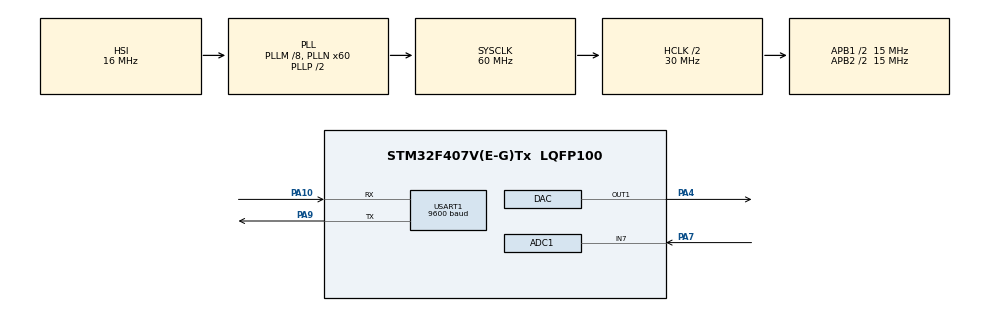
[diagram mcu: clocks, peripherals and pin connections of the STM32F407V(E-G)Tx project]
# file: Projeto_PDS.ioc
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ADC1.Channel-4\#ChannelRegularConversion=ADC_CHANNEL_7
ADC1.DMAContinuousRequests=ENABLE
ADC1.ExternalTrigConv=ADC_EXTERNALTRIGCONV_T2_TRGO
ADC1.NbrOfConversionFlag=1
ADC1.Rank-4\#ChannelRegularConversion=1
ADC1.SamplingTime-4\#ChannelRegularConversion=ADC_SAMPLETIME_3CYCLES
ADC1.master=1
DAC.DAC_Trigger=DAC_TRIGGER_T2_TRGO
DAC.TriangleAmplitude=DAC_TRIANGLEAMPLITUDE_15
DAC.WaveGeneration=TriangleWaveGeneration
Dma.ADC1.0.Direction=DMA_PERIPH_TO_MEMORY
Dma.ADC1.0.FIFOMode=DMA_FIFOMODE_DISABLE
Dma.ADC1.0.Instance=DMA2_Stream0
Dma.ADC1.0.MemDataAlignment=DMA_MDATAALIGN_WORD
Dma.ADC1.0.MemInc=DMA_MINC_ENABLE
Dma.ADC1.0.Mode=DMA_CIRCULAR
Dma.ADC1.0.PeriphDataAlignment=DMA_PDATAALIGN_WORD
Dma.ADC1.0.PeriphInc=DMA_PINC_DISABLE
Dma.ADC1.0.Priority=DMA_PRIORITY_LOW
Dma.DAC1.1.Direction=DMA_MEMORY_TO_PERIPH
Dma.DAC1.1.FIFOMode=DMA_FIFOMODE_DISABLE
Dma.DAC1.1.Instance=DMA1_Stream5
Dma.DAC1.1.MemDataAlignment=DMA_MDATAALIGN_WORD
Dma.DAC1.1.MemInc=DMA_MINC_ENABLE
Dma.DAC1.1.Mode=DMA_CIRCULAR
Dma.DAC1.1.PeriphDataAlignment=DMA_PDATAALIGN_WORD
Dma.DAC1.1.PeriphInc=DMA_PINC_DISABLE
Dma.DAC1.1.Priority=DMA_PRIORITY_LOW
Dma.Request0=ADC1
Dma.Request1=DAC1
Mcu.Family=STM32F4
Mcu.Name=STM32F407V(E-G)Tx
Mcu.Package=LQFP100
NVIC.DMA1_Stream5_IRQn=true\:0\:0\:false\:false\:true\:false\:true\:true
NVIC.DMA2_Stream0_IRQn=true\:0\:0\:false\:false\:true\:false\:true\:true
NVIC.PriorityGroup=NVIC_PRIORITYGROUP_4
PA10.Mode=Asynchronous
PA10.Signal=USART1_RX
PA13.Mode=Serial_Wire
PA13.Signal=SYS_JTMS-SWDIO
PA14.Mode=Serial_Wire
PA14.Signal=SYS_JTCK-SWCLK
PA4.Signal=COMP_DAC1_group
PA7.Signal=ADCx_IN7
PA9.Mode=Asynchronous
PA9.Signal=USART1_TX
PH0-OSC_IN.Mode=HSE-External-Oscillator
PH0-OSC_IN.Signal=RCC_OSC_IN
PH1-OSC_OUT.Mode=HSE-External-Oscillator
PH1-OSC_OUT.Signal=RCC_OSC_OUT
ProjectManager.HeapSize=0x200
ProjectManager.StackSize=0x400
ProjectManager.TargetToolchain=STM32CubeIDE
RCC.48MHZClocksFreq_Value=30000000
RCC.AHBCLKDivider=RCC_SYSCLK_DIV2
RCC.AHBFreq_Value=30000000
RCC.APB1CLKDivider=RCC_HCLK_DIV2
RCC.APB1Freq_Value=15000000
RCC.APB1TimFreq_Value=30000000
RCC.APB2CLKDivider=RCC_HCLK_DIV2
RCC.APB2Freq_Value=15000000
RCC.APB2TimFreq_Value=30000000
RCC.CortexFreq_Value=30000000
RCC.HCLKFreq_Value=30000000
RCC.HSE_VALUE=25000000
RCC.HSI_VALUE=16000000
RCC.LSE_VALUE=32768
RCC.PLLM=8
RCC.PLLN=60
RCC.SYSCLKFreq_VALUE=60000000
RCC.SYSCLKSource=RCC_SYSCLKSOURCE_PLLCLK
RCC.VCOOutputFreq_Value=120000000
SH.ADCx_IN7.0=ADC1_IN7,IN7
SH.COMP_DAC1_group.0=DAC_OUT1,DAC_OUT1
TIM2.Period=299
TIM2.Prescaler=99
TIM2.TIM_MasterOutputTrigger=TIM_TRGO_UPDATE
USART1.BaudRate=9600
USART1.VirtualMode=VM_ASYNC
VP_TIM2_VS_ClockSourceINT.Mode=Internal
board=custom

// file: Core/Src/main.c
/* USER CODE BEGIN Header */
/**
  ******************************************************************************
  * @file           : main.c
  * @brief          : Main program body
  ******************************************************************************
  * @attention
  *
  * Copyright (c) 2024 STMicroelectronics.
  * All rights reserved.
  *
  * This software is licensed under terms that can be found in the LICENSE file
  * in the root directory of this software component.
  * If no LICENSE file comes with this software, it is provided AS-IS.
  *
  ******************************************************************************
  */
/* USER CODE END Header */
#include "main.h"

/* USER CODE BEGIN Includes */
#include "arm_math.h" // inclusao das funções da bilbioteca CMSIS
/* USER CODE END Includes */

/* USER CODE BEGIN PD */
#define NUM_SAMPLES 1000  // Número total de amostras
#define BLOCK_SIZE 256     // Tamanho do bloco de processamento
#define NUM_TAPS 30	// Número de coeficientes do filtro
#define DAC_MAX_VALUE 4096  // Resolução do DAC de 12 bits
/* USER CODE END PD */

ADC_HandleTypeDef hadc1;
DMA_HandleTypeDef hdma_adc1;

DAC_HandleTypeDef hdac;
DMA_HandleTypeDef hdma_dac1;

TIM_HandleTypeDef htim2;

UART_HandleTypeDef huart1;

/* USER CODE BEGIN PV */

/* Buffer de estado do filtro FIR (armazenamento intermediário para o filtro)  */
float32_t firStateF32[BLOCK_SIZE + NUM_TAPS - 1];

/* Coeficientes do filtro FIR (passa-baixa projetado no MATLAB) */
float32_t firCoeffs32[NUM_TAPS] = {
    0.000542, 0.001727, 0.003113, 0.003883, 0.002264, -0.003353,
    -0.012604, -0.021814, -0.024289, -0.012675, 0.017408, 0.064163,
    0.118682, 0.167181, 0.195770, 0.195770, 0.167181, 0.118682,
    0.064163, 0.017408, -0.012675, -0.024289, -0.021814, -0.012604,
    -0.003353, 0.002264, 0.003883, 0.003113, 0.001727, 0.000542
};

/* Buffer para armazenar amostras de entrada (sinal ruidoso) e saída (sinal filtrado)  */
float32_t inputBuffer[BLOCK_SIZE];
float32_t outputBuffer[BLOCK_SIZE];

/* Variável para controle de amostras */
uint32_t sampleIndex = 0;

/* Instância do filtro FIR */
arm_fir_instance_f32 S;
/* USER CODE END PV */

void SystemClock_Config(void);
static void MX_GPIO_Init(void);
static void MX_DMA_Init(void);
static void MX_USART1_UART_Init(void);
static void MX_TIM2_Init(void);
static void MX_DAC_Init(void);
static void MX_ADC1_Init(void);
/* USER CODE BEGIN PFP */
void process_signal(void); // Função de processamento do sinal
/* USER CODE END PFP */

int main(void)
{

  /* MCU Configuration--------------------------------------------------------*/

  /* Reset of all peripherals, Initializes the Flash interface and the Systick. */
  HAL_Init();

  /* Configure the system clock */
  SystemClock_Config();

  /* Initialize all configured peripherals */
  MX_GPIO_Init();
  MX_DMA_Init();
  MX_USART1_UART_Init();
  MX_TIM2_Init();
  MX_DAC_Init();
  MX_ADC1_Init();
  /* USER CODE BEGIN 2 */

  /* Inicializando o filtro FIR com os coeficientes gerados no MATLAB */
  arm_fir_init_f32(&S, NUM_TAPS, firCoeffs32, firStateF32, BLOCK_SIZE);

  /* Inicializando o Timer e DMA para ADC e DAC */
  HAL_TIM_Base_Start(&htim2);
  HAL_ADC_Start_DMA(&hadc1, (uint32_t*)inputBuffer, BLOCK_SIZE);
  HAL_DAC_Start_DMA(&hdac, DAC_CHANNEL_1, (uint32_t*)outputBuffer, BLOCK_SIZE, DAC_ALIGN_12B_R);

  /* USER CODE END 2 */

  /* Infinite loop */
  while (1)
  {

  }
}

void SystemClock_Config(void)
{
  RCC_OscInitTypeDef RCC_OscInitStruct = {0};
  RCC_ClkInitTypeDef RCC_ClkInitStruct = {0};

  /** Configure the main internal regulator output voltage
  */
  __HAL_RCC_PWR_CLK_ENABLE();
  __HAL_PWR_VOLTAGESCALING_CONFIG(PWR_REGULATOR_VOLTAGE_SCALE1);

  /** Initializes the RCC Oscillators according to the specified parameters
  * in the RCC_OscInitTypeDef structure.
  */
  RCC_OscInitStruct.OscillatorType = RCC_OSCILLATORTYPE_HSI;
  RCC_OscInitStruct.HSIState = RCC_HSI_ON;
  RCC_OscInitStruct.HSICalibrationValue = RCC_HSICALIBRATION_DEFAULT;
  RCC_OscInitStruct.PLL.PLLState = RCC_PLL_ON;
  RCC_OscInitStruct.PLL.PLLSource = RCC_PLLSOURCE_HSI;
  RCC_OscInitStruct.PLL.PLLM = 8;
  RCC_OscInitStruct.PLL.PLLN = 60;
  RCC_OscInitStruct.PLL.PLLP = RCC_PLLP_DIV2;
  RCC_OscInitStruct.PLL.PLLQ = 4;
  if (HAL_RCC_OscConfig(&RCC_OscInitStruct) != HAL_OK)
  {
    Error_Handler();
  }

  /** Initializes the CPU, AHB and APB buses clocks
  */
  RCC_ClkInitStruct.ClockType = RCC_CLOCKTYPE_HCLK|RCC_CLOCKTYPE_SYSCLK
                              |RCC_CLOCKTYPE_PCLK1|RCC_CLOCKTYPE_PCLK2;
  RCC_ClkInitStruct.SYSCLKSource = RCC_SYSCLKSOURCE_PLLCLK;
  RCC_ClkInitStruct.AHBCLKDivider = RCC_SYSCLK_DIV2;
  RCC_ClkInitStruct.APB1CLKDivider = RCC_HCLK_DIV2;
  RCC_ClkInitStruct.APB2CLKDivider = RCC_HCLK_DIV2;

  if (HAL_RCC_ClockConfig(&RCC_ClkInitStruct, FLASH_LATENCY_0) != HAL_OK)
  {
    Error_Handler();
  }
}

static void MX_ADC1_Init(void)
{

  ADC_ChannelConfTypeDef sConfig = {0};

  /** Configure the global features of the ADC (Clock, Resolution, Data Alignment and number of conversion)
  */
  hadc1.Instance = ADC1;
  hadc1.Init.ClockPrescaler = ADC_CLOCK_SYNC_PCLK_DIV2;
  hadc1.Init.Resolution = ADC_RESOLUTION_12B;
  hadc1.Init.ScanConvMode = DISABLE;
  hadc1.Init.ContinuousConvMode = DISABLE;
  hadc1.Init.DiscontinuousConvMode = DISABLE;
  hadc1.Init.ExternalTrigConvEdge = ADC_EXTERNALTRIGCONVEDGE_RISING;
  hadc1.Init.ExternalTrigConv = ADC_EXTERNALTRIGCONV_T2_TRGO;
  hadc1.Init.DataAlign = ADC_DATAALIGN_RIGHT;
  hadc1.Init.NbrOfConversion = 1;
  hadc1.Init.DMAContinuousRequests = ENABLE;
  hadc1.Init.EOCSelection = ADC_EOC_SINGLE_CONV;
  if (HAL_ADC_Init(&hadc1) != HAL_OK)
  {
    Error_Handler();
  }

  /** Configure for the selected ADC regular channel its corresponding rank in the sequencer and its sample time.
  */
  sConfig.Channel = ADC_CHANNEL_7;
  sConfig.Rank = 1;
  sConfig.SamplingTime = ADC_SAMPLETIME_3CYCLES;
  if (HAL_ADC_ConfigChannel(&hadc1, &sConfig) != HAL_OK)
  {
    Error_Handler();
  }

}

static void MX_DAC_Init(void)
{

  DAC_ChannelConfTypeDef sConfig = {0};

  /** DAC Initialization
  */
  hdac.Instance = DAC;
  if (HAL_DAC_Init(&hdac) != HAL_OK)
  {
    Error_Handler();
  }

  /** DAC channel OUT1 config
  */
  sConfig.DAC_Trigger = DAC_TRIGGER_T2_TRGO;
  sConfig.DAC_OutputBuffer = DAC_OUTPUTBUFFER_ENABLE;
  if (HAL_DAC_ConfigChannel(&hdac, &sConfig, DAC_CHANNEL_1) != HAL_OK)
  {
    Error_Handler();
  }

  /** Configure Triangle wave generation on DAC OUT1
  */
  if (HAL_DACEx_TriangleWaveGenerate(&hdac, DAC_CHANNEL_1, DAC_TRIANGLEAMPLITUDE_15) != HAL_OK)
  {
    Error_Handler();
  }

}

static void MX_TIM2_Init(void)
{

  TIM_ClockConfigTypeDef sClockSourceConfig = {0};
  TIM_MasterConfigTypeDef sMasterConfig = {0};

  htim2.Instance = TIM2;
  htim2.Init.Prescaler = 99;
  htim2.Init.CounterMode = TIM_COUNTERMODE_UP;
  htim2.Init.Period = 299;
  htim2.Init.ClockDivision = TIM_CLOCKDIVISION_DIV1;
  htim2.Init.AutoReloadPreload = TIM_AUTORELOAD_PRELOAD_DISABLE;
  if (HAL_TIM_Base_Init(&htim2) != HAL_OK)
  {
    Error_Handler();
  }
  sClockSourceConfig.ClockSource = TIM_CLOCKSOURCE_INTERNAL;
  if (HAL_TIM_ConfigClockSource(&htim2, &sClockSourceConfig) != HAL_OK)
  {
    Error_Handler();
  }
  sMasterConfig.MasterOutputTrigger = TIM_TRGO_UPDATE;
  sMasterConfig.MasterSlaveMode = TIM_MASTERSLAVEMODE_DISABLE;
  if (HAL_TIMEx_MasterConfigSynchronization(&htim2, &sMasterConfig) != HAL_OK)
  {
    Error_Handler();
  }

}

static void MX_USART1_UART_Init(void)
{

  huart1.Instance = USART1;
  huart1.Init.BaudRate = 9600;
  huart1.Init.WordLength = UART_WORDLENGTH_8B;
  huart1.Init.StopBits = UART_STOPBITS_1;
  huart1.Init.Parity = UART_PARITY_NONE;
  huart1.Init.Mode = UART_MODE_TX_RX;
  huart1.Init.HwFlowCtl = UART_HWCONTROL_NONE;
  huart1.Init.OverSampling = UART_OVERSAMPLING_16;
  if (HAL_UART_Init(&huart1) != HAL_OK)
  {
    Error_Handler();
  }

}

static void MX_DMA_Init(void)
{

  /* DMA controller clock enable */
  __HAL_RCC_DMA2_CLK_ENABLE();
  __HAL_RCC_DMA1_CLK_ENABLE();

  /* DMA interrupt init */
  /* DMA1_Stream5_IRQn interrupt configuration */
  HAL_NVIC_SetPriority(DMA1_Stream5_IRQn, 0, 0);
  HAL_NVIC_EnableIRQ(DMA1_Stream5_IRQn);
  /* DMA2_Stream0_IRQn interrupt configuration */
  HAL_NVIC_SetPriority(DMA2_Stream0_IRQn, 0, 0);
  HAL_NVIC_EnableIRQ(DMA2_Stream0_IRQn);

}

static void MX_GPIO_Init(void)
{

  /* GPIO Ports Clock Enable */
  __HAL_RCC_GPIOH_CLK_ENABLE();
  __HAL_RCC_GPIOA_CLK_ENABLE();

}

/* USER CODE BEGIN 4 */

/* Callback chamado quando o DMA do ADC termina a conversão */
void HAL_ADC_ConvCpltCallback(ADC_HandleTypeDef* hadc) {
    if (hadc->Instance == ADC1) {
        /* Processando as amostras do bloco atual (aplica o filtro FIR) */
        process_signal();

        /* Enviando o sinal filtrado para o DAC */
        for (int i = 0; i < BLOCK_SIZE; i++) {
            /* O valor filtrado já está no outputBuffer[i], e precisa ser ajustado para o DAC de 12 bits*/
            uint32_t dac_output = (uint32_t)((outputBuffer[i] + 1.0f) * (DAC_MAX_VALUE / 2));  // Ajustando o sinal para o range do DAC (0 a 4095)

            /* Enviando para o DAC (ajustando para 12 bits) */
            HAL_DAC_SetValue(&hdac, DAC_CHANNEL_1, DAC_ALIGN_12B_R, dac_output);
        }
    }
}

/* Função de processamento do sinal */
void process_signal(void) {
    /* Aplicando o filtro FIR ao bloco de amostras de entrada e gerar o bloco de saída */
    arm_fir_f32(&S, inputBuffer, outputBuffer, BLOCK_SIZE);
}

/* USER CODE END 4 */

void Error_Handler(void)
{
  __disable_irq();
  while (1)
  {
  }
}
